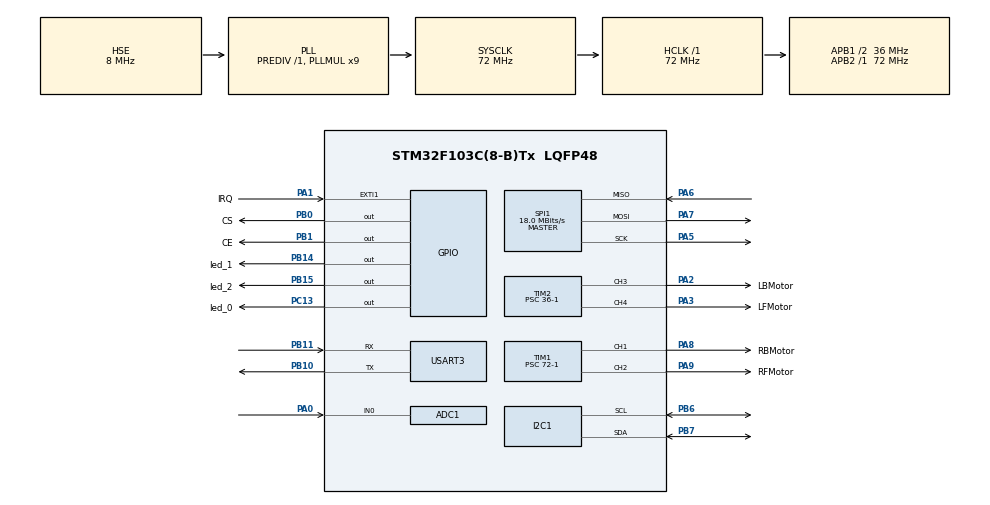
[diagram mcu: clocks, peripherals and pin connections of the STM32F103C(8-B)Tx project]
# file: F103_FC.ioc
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ADC1.Channel-0\#ChannelRegularConversion=ADC_CHANNEL_0
ADC1.NbrOfConversionFlag=1
ADC1.Rank-0\#ChannelRegularConversion=1
ADC1.SamplingTime-0\#ChannelRegularConversion=ADC_SAMPLETIME_1CYCLE_5
ADC1.master=1
Mcu.Family=STM32F1
Mcu.Name=STM32F103C(8-B)Tx
Mcu.Package=LQFP48
NVIC.I2C1_ER_IRQn=true\:0\:0\:false\:false\:true\:true\:true\:true
NVIC.I2C1_EV_IRQn=true\:0\:0\:false\:false\:true\:true\:true\:true
NVIC.PriorityGroup=NVIC_PRIORITYGROUP_4
NVIC.USART3_IRQn=true\:0\:0\:false\:false\:true\:true\:true\:true
PA0-WKUP.Signal=ADCx_IN0
PA1.GPIO_Label=IRQ
PA1.Signal=GPXTI1
PA13.Mode=Serial_Wire
PA13.Signal=SYS_JTMS-SWDIO
PA14.Mode=Serial_Wire
PA14.Signal=SYS_JTCK-SWCLK
PA2.GPIO_Label=LBMotor
PA2.Signal=S_TIM2_CH3
PA3.GPIO_Label=LFMotor
PA3.Signal=S_TIM2_CH4
PA5.Mode=Full_Duplex_Master
PA5.Signal=SPI1_SCK
PA6.Mode=Full_Duplex_Master
PA6.Signal=SPI1_MISO
PA7.Mode=Full_Duplex_Master
PA7.Signal=SPI1_MOSI
PA8.GPIO_Label=RBMotor
PA8.Signal=S_TIM1_CH1
PA9.GPIO_Label=RFMotor
PA9.Signal=S_TIM1_CH2
PB0.GPIO_Label=CS
PB0.Signal=GPIO_Output
PB1.GPIO_Label=CE
PB1.Signal=GPIO_Output
PB10.Mode=Asynchronous
PB10.Signal=USART3_TX
PB11.Mode=Asynchronous
PB11.Signal=USART3_RX
PB14.GPIO_Label=led_1
PB14.Signal=GPIO_Output
PB15.GPIO_Label=led_2
PB15.Signal=GPIO_Output
PB6.Mode=I2C
PB6.Signal=I2C1_SCL
PB7.Mode=I2C
PB7.Signal=I2C1_SDA
PC13-TAMPER-RTC.GPIO_Label=led_0
PC13-TAMPER-RTC.Signal=GPIO_Output
PD0-OSC_IN.Mode=HSE-External-Oscillator
PD0-OSC_IN.Signal=RCC_OSC_IN
PD1-OSC_OUT.Mode=HSE-External-Oscillator
PD1-OSC_OUT.Signal=RCC_OSC_OUT
ProjectManager.HeapSize=0x200
ProjectManager.StackSize=0x400
ProjectManager.TargetToolchain=STM32CubeIDE
RCC.ADCPresc=RCC_ADCPCLK2_DIV6
RCC.AHBFreq_Value=72000000
RCC.APB1CLKDivider=RCC_HCLK_DIV2
RCC.APB1Freq_Value=36000000
RCC.APB1TimFreq_Value=72000000
RCC.APB2Freq_Value=72000000
RCC.APB2TimFreq_Value=72000000
RCC.HCLKFreq_Value=72000000
RCC.PLLMUL=RCC_PLL_MUL9
RCC.PLLSourceVirtual=RCC_PLLSOURCE_HSE
RCC.SYSCLKFreq_VALUE=72000000
RCC.SYSCLKSource=RCC_SYSCLKSOURCE_PLLCLK
RCC.USBFreq_Value=72000000
SH.ADCx_IN0.0=ADC1_IN0,IN0
SH.S_TIM1_CH1.0=TIM1_CH1,PWM Generation1 CH1
SH.S_TIM1_CH2.0=TIM1_CH2,PWM Generation2 CH2
SH.S_TIM2_CH3.0=TIM2_CH3,PWM Generation3 CH3
SH.S_TIM2_CH4.0=TIM2_CH4,PWM Generation4 CH4
SPI1.BaudRatePrescaler=SPI_BAUDRATEPRESCALER_4
SPI1.CalculateBaudRate=18.0 MBits/s
SPI1.Direction=SPI_DIRECTION_2LINES
SPI1.Mode=SPI_MODE_MASTER
SPI1.VirtualType=VM_MASTER
TIM1.Channel-PWM\ Generation1\ CH1=TIM_CHANNEL_1
TIM1.Channel-PWM\ Generation2\ CH2=TIM_CHANNEL_2
TIM1.Period=2000-1
TIM1.Prescaler=72-1
TIM2.Channel-PWM\ Generation3\ CH3=TIM_CHANNEL_3
TIM2.Channel-PWM\ Generation4\ CH4=TIM_CHANNEL_4
TIM2.Period=2000-1
TIM2.Prescaler=36-1
TIM2.Pulse-PWM\ Generation3\ CH3=1000
TIM4.Period=99
TIM4.Prescaler=72
USART3.VirtualMode=VM_ASYNC
VP_TIM1_VS_ClockSourceINT.Mode=Internal
VP_TIM2_VS_ClockSourceINT.Mode=Internal
VP_TIM4_VS_ClockSourceINT.Mode=Internal
board=custom

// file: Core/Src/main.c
/* USER CODE BEGIN Header */
/**
  ******************************************************************************
  * @file           : main.c
  * @brief          : Main program body
  ******************************************************************************
  * @attention
  *
  * Copyright (c) 2024 STMicroelectronics.
  * All rights reserved.
  *
  * This software is licensed under terms that can be found in the LICENSE file
  * in the root directory of this software component.
  * If no LICENSE file comes with this software, it is provided AS-IS.
  *
  ******************************************************************************
  */
/* USER CODE END Header */
#include "main.h"
#include "adc.h"
#include "i2c.h"
#include "spi.h"
#include "tim.h"
#include "usart.h"
#include "gpio.h"

/* USER CODE BEGIN Includes */
#include <stdio.h>
#include "board.h"
/* USER CODE END Includes */

void SystemClock_Config(void);

/* USER CODE BEGIN 0 */
// used for printf
int _write(int file, char *ptr, int len)
{
    for (int i = 0; i < len; i++)
    {
        LL_USART_TransmitData8(USART3, *(ptr + i));
    }
    return len;
}
/* USER CODE END 0 */

int main(void)
{

  /* MCU Configuration--------------------------------------------------------*/

  /* Reset of all peripherals, Initializes the Flash interface and the Systick. */
  HAL_Init();

  /* Configure the system clock */
  SystemClock_Config();

  /* Initialize all configured peripherals */
  MX_GPIO_Init();
  MX_ADC1_Init();
  MX_I2C1_Init();
  MX_SPI1_Init();
  MX_TIM1_Init();
  MX_TIM2_Init();
  MX_USART3_UART_Init();
  MX_TIM4_Init();
  /* USER CODE BEGIN 2 */
    Config_Init();
  // LL_USART_Enable_IT_RXNE(USART3);
#ifdef USE_MPU
    Scheduler_Add_Task(&imu_update_attitude, 13, FREQ_TO_TICK_CONTROL(CONTROL_FREQ)); // 2ms update rate -> .5kHz
#endif
#ifdef RUN
    Scheduler_Add_Task(&imu_update_attitude, 1, FREQ_TO_TICK_CONTROL(CONTROL_FREQ)); // 2ms update rate -> .5kHz
    Scheduler_Add_Task(&nrf24l01_rx_receive, 3, FREQ_TO_TICK_CONTROL(CONTROL_FREQ)); // 2ms update rate -> .5kHz
    Scheduler_Add_Task(&computeAxisCommands, 5, FREQ_TO_TICK_CONTROL(CONTROL_FREQ)); // 2ms update rate -> .5kHz
    Scheduler_Add_Task(&mixTable, 7, FREQ_TO_TICK_CONTROL(CONTROL_FREQ));            // 2ms update rate -> .5kHz
    Scheduler_Add_Task(&Motors_Run, 11, FREQ_TO_TICK_CONTROL(CONTROL_FREQ));          // 2ms update rate -> .5kHz
#endif
#ifdef PRINT_LOG // for uart log debug
    // Scheduler_Add_Task(&print_log, 0, FREQ_TO_TICK_CONTROL(LOG_FREQ)); // 10ms update rate -> 100Hz
#endif

#ifdef USE_BATTERY // for uart log debug
    Scheduler_Add_Task(&battMonRead, 0, FREQ_TO_TICK_CONTROL(CHECK_BATT_FREQ)); // 100ms update rate -> 10Hz
#endif

#ifdef USE_LED
    Scheduler_Add_Task(&leds_Set, 0, FREQ_TO_TICK_CONTROL(LED_FREQ)); // 500ms update rate -> 2Hz
#endif
  /* USER CODE END 2 */

  /* Infinite loop */
  /* USER CODE BEGIN WHILE */
  while (1)
  {
    Scheduler_Dispatch_Tasks();
    /* USER CODE END WHILE */

  }
}

void SystemClock_Config(void)
{
  RCC_OscInitTypeDef RCC_OscInitStruct = {0};
  RCC_ClkInitTypeDef RCC_ClkInitStruct = {0};
  RCC_PeriphCLKInitTypeDef PeriphClkInit = {0};

  /** Initializes the RCC Oscillators according to the specified parameters
  * in the RCC_OscInitTypeDef structure.
  */
  RCC_OscInitStruct.OscillatorType = RCC_OSCILLATORTYPE_HSE;
  RCC_OscInitStruct.HSEState = RCC_HSE_ON;
  RCC_OscInitStruct.HSEPredivValue = RCC_HSE_PREDIV_DIV1;
  RCC_OscInitStruct.HSIState = RCC_HSI_ON;
  RCC_OscInitStruct.PLL.PLLState = RCC_PLL_ON;
  RCC_OscInitStruct.PLL.PLLSource = RCC_PLLSOURCE_HSE;
  RCC_OscInitStruct.PLL.PLLMUL = RCC_PLL_MUL9;
  if (HAL_RCC_OscConfig(&RCC_OscInitStruct) != HAL_OK)
  {
    Error_Handler();
  }

  /** Initializes the CPU, AHB and APB buses clocks
  */
  RCC_ClkInitStruct.ClockType = RCC_CLOCKTYPE_HCLK|RCC_CLOCKTYPE_SYSCLK
                              |RCC_CLOCKTYPE_PCLK1|RCC_CLOCKTYPE_PCLK2;
  RCC_ClkInitStruct.SYSCLKSource = RCC_SYSCLKSOURCE_PLLCLK;
  RCC_ClkInitStruct.AHBCLKDivider = RCC_SYSCLK_DIV1;
  RCC_ClkInitStruct.APB1CLKDivider = RCC_HCLK_DIV2;
  RCC_ClkInitStruct.APB2CLKDivider = RCC_HCLK_DIV1;

  if (HAL_RCC_ClockConfig(&RCC_ClkInitStruct, FLASH_LATENCY_2) != HAL_OK)
  {
    Error_Handler();
  }
  PeriphClkInit.PeriphClockSelection = RCC_PERIPHCLK_ADC;
  PeriphClkInit.AdcClockSelection = RCC_ADCPCLK2_DIV6;
  if (HAL_RCCEx_PeriphCLKConfig(&PeriphClkInit) != HAL_OK)
  {
    Error_Handler();
  }
}

/* USER CODE BEGIN 4 */
void HAL_TIM_PeriodElapsedCallback(TIM_HandleTypeDef *htim)
{
    if (htim->Instance == TIM4)
    {
        Scheduler_Update();
    }
}
/* USER CODE END 4 */

void Error_Handler(void)
{
  __disable_irq();
  while (1)
  {
  }
}
